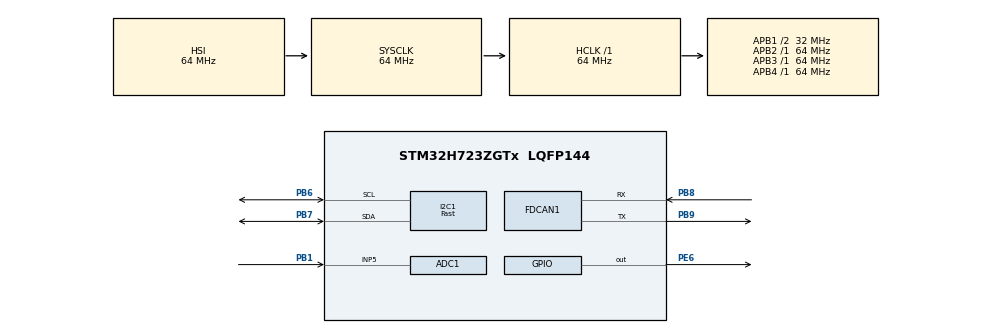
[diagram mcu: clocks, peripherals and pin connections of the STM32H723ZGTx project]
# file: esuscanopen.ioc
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ADC1.Channel-0\#ChannelRegularConversion=ADC_CHANNEL_5
ADC1.EnableAnalogWatchDog1=false
ADC1.NbrOfConversionFlag=1
ADC1.OffsetNumber-0\#ChannelRegularConversion=ADC_OFFSET_NONE
ADC1.OffsetSignedSaturation-0\#ChannelRegularConversion=DISABLE
ADC1.Rank-0\#ChannelRegularConversion=1
ADC1.Resolution=ADC_RESOLUTION_12B
ADC1.SamplingTime-0\#ChannelRegularConversion=ADC_SAMPLETIME_387CYCLES_5
ADC1.master=1
CORTEX_M7.default_mode_Activation=1
FDCAN1.AutoRetransmission=ENABLE
FDCAN1.CalculateBaudRateNominal=500000
FDCAN1.CalculateTimeBitNominal=2000
FDCAN1.CalculateTimeQuantumNominal=125.0
FDCAN1.NominalPrescaler=6
FDCAN1.NominalSyncJumpWidth=1
FDCAN1.NominalTimeSeg1=13
FDCAN1.NominalTimeSeg2=2
FDCAN1.RxFifo0ElmtsNbr=8
FDCAN1.StdFiltersNbr=1
FDCAN1.TxFifoQueueElmtsNbr=32
FREERTOS.Tasks01=defaultTask,24,2048,StartDefaultTask,Default,NULL,Dynamic,NULL,NULL;canopen,40,2048,canopen_task,Default,NULL,Dynamic,NULL,NULL
FREERTOS.configMINIMAL_STACK_SIZE=2048
FREERTOS.configTOTAL_HEAP_SIZE=65536
I2C1.I2C_Speed_Mode=I2C_Fast
I2C1.Timing=0x00300F38
Mcu.Family=STM32H7
Mcu.Name=STM32H723ZGTx
Mcu.Package=LQFP144
NVIC.ADC_IRQn=true\:5\:0\:false\:false\:true\:true\:true\:true\:true
NVIC.FDCAN1_IT0_IRQn=true\:5\:0\:false\:false\:true\:true\:true\:true\:true
NVIC.FDCAN1_IT1_IRQn=true\:5\:0\:false\:false\:true\:true\:true\:true\:true
NVIC.PriorityGroup=NVIC_PRIORITYGROUP_4
NVIC.TIM1_UP_IRQn=true\:15\:0\:false\:false\:true\:false\:false\:true\:true
NVIC.TIM6_DAC_IRQn=true\:5\:0\:false\:false\:true\:true\:true\:true\:true
NVIC.TimeBase=TIM1_UP_IRQn
NVIC.TimeBaseIP=TIM1
PB1.Signal=ADCx_INP5
PB6.Mode=I2C
PB6.Signal=I2C1_SCL
PB7.Mode=I2C
PB7.Signal=I2C1_SDA
PB8.Mode=FDCAN_Activate
PB8.Signal=FDCAN1_RX
PB9.Mode=FDCAN_Activate
PB9.Signal=FDCAN1_TX
PE6.Signal=GPIO_Output
ProjectManager.HeapSize=0x200
ProjectManager.StackSize=0x400
ProjectManager.TargetToolchain=CMake
RCC.ADCFreq_Value=38400000
RCC.APB1Freq_Value=32000000
RCC.APB2Freq_Value=64000000
RCC.APB3Freq_Value=64000000
RCC.APB4Freq_Value=64000000
RCC.CortexFreq_Value=64000000
RCC.D2PPRE1=RCC_APB1_DIV2
RCC.DIVM1=4
RCC.DIVM2=4
RCC.DIVN1=12
RCC.DIVN2=12
RCC.DIVP2=5
RCC.DIVQ1=4
RCC.HCLKFreq_Value=64000000
RCC.PLL2FRACN=0
RCC.PLLFRACN=0
RCC.SYSCLKFreq_VALUE=64000000
RCC.USBFreq_Value=48000000
SH.ADCx_INP5.0=ADC1_INP5,IN5-Single-Ended
TIM6.AutoReloadPreload=TIM_AUTORELOAD_PRELOAD_ENABLE
TIM6.Period=999
TIM6.Prescaler=63
VP_FREERTOS_VS_CMSIS_V2.Mode=CMSIS_V2
VP_MEMORYMAP_VS_MEMORYMAP.Mode=CurAppReg
VP_SYS_VS_tim1.Mode=TIM1
VP_TIM6_VS_ClockSourceINT.Mode=Enable_Timer
board=custom

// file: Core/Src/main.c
/* USER CODE BEGIN Header */
/**
  ******************************************************************************
  * @file           : main.c
  * @brief          : Main program body
  ******************************************************************************
  * @attention
  *
  * Copyright (c) 2026 STMicroelectronics.
  * All rights reserved.
  *
  * This software is licensed under terms that can be found in the LICENSE file
  * in the root directory of this software component.
  * If no LICENSE file comes with this software, it is provided AS-IS.
  *
  ******************************************************************************
  */
/* USER CODE END Header */
#include "main.h"
#include "cmsis_os.h"
#include "adc.h"
#include "fdcan.h"
#include "i2c.h"
#include "tim.h"
#include "gpio.h"

/* USER CODE BEGIN Includes */
#include "CO_app_STM32.h"
/* USER CODE END Includes */

/* USER CODE BEGIN PV */
CANopenNodeSTM32 canOpenNodeSTM32;
/* USER CODE END PV */

void SystemClock_Config(void);
static void MPU_Config(void);
void MX_FREERTOS_Init(void);
/* USER CODE BEGIN PFP */
void ICM42670_Init(void);
void ICM42670_ReadData(void);
/* USER CODE END PFP */

int main(void)
{

  /* USER CODE BEGIN 1 */
  HAL_GPIO_WritePin(GPIOE, GPIO_PIN_6, GPIO_PIN_RESET);
  /* USER CODE END 1 */

  /* MPU Configuration--------------------------------------------------------*/
  MPU_Config();

  /* MCU Configuration--------------------------------------------------------*/

  /* Reset of all peripherals, Initializes the Flash interface and the Systick. */
  HAL_Init();

  /* Configure the system clock */
  SystemClock_Config();

  /* Initialize all configured peripherals */
  MX_GPIO_Init();
  MX_FDCAN1_Init();
  MX_TIM6_Init();
  MX_ADC1_Init();
  MX_I2C1_Init();
  /* USER CODE BEGIN 2 */

  HAL_ADCEx_Calibration_Start(&hadc1, ADC_CALIB_OFFSET, ADC_SINGLE_ENDED);
  HAL_ADC_Start_IT(&hadc1);

  ICM42670_Init();
  /* USER CODE END 2 */

  /* Init scheduler */
  osKernelInitialize();  /* Call init function for freertos objects (in cmsis_os2.c) */
  MX_FREERTOS_Init();

  /* Start scheduler */
  osKernelStart();

  /* We should never get here as control is now taken by the scheduler */

  /* Infinite loop */
  while (1)
  {

  }
}

void SystemClock_Config(void)
{
  RCC_OscInitTypeDef RCC_OscInitStruct = {0};
  RCC_ClkInitTypeDef RCC_ClkInitStruct = {0};

  /** Supply configuration update enable
  */
  HAL_PWREx_ConfigSupply(PWR_LDO_SUPPLY);

  /** Configure the main internal regulator output voltage
  */
  __HAL_PWR_VOLTAGESCALING_CONFIG(PWR_REGULATOR_VOLTAGE_SCALE3);

  while(!__HAL_PWR_GET_FLAG(PWR_FLAG_VOSRDY)) {}

  /** Initializes the RCC Oscillators according to the specified parameters
  * in the RCC_OscInitTypeDef structure.
  */
  RCC_OscInitStruct.OscillatorType = RCC_OSCILLATORTYPE_HSI;
  RCC_OscInitStruct.HSIState = RCC_HSI_DIV1;
  RCC_OscInitStruct.HSICalibrationValue = 64;
  RCC_OscInitStruct.PLL.PLLState = RCC_PLL_ON;
  RCC_OscInitStruct.PLL.PLLSource = RCC_PLLSOURCE_HSI;
  RCC_OscInitStruct.PLL.PLLM = 4;
  RCC_OscInitStruct.PLL.PLLN = 12;
  RCC_OscInitStruct.PLL.PLLP = 2;
  RCC_OscInitStruct.PLL.PLLQ = 4;
  RCC_OscInitStruct.PLL.PLLR = 2;
  RCC_OscInitStruct.PLL.PLLRGE = RCC_PLL1VCIRANGE_3;
  RCC_OscInitStruct.PLL.PLLVCOSEL = RCC_PLL1VCOWIDE;
  RCC_OscInitStruct.PLL.PLLFRACN = 0;
  if (HAL_RCC_OscConfig(&RCC_OscInitStruct) != HAL_OK)
  {
    Error_Handler();
  }

  /** Initializes the CPU, AHB and APB buses clocks
  */
  RCC_ClkInitStruct.ClockType = RCC_CLOCKTYPE_HCLK|RCC_CLOCKTYPE_SYSCLK
                              |RCC_CLOCKTYPE_PCLK1|RCC_CLOCKTYPE_PCLK2
                              |RCC_CLOCKTYPE_D3PCLK1|RCC_CLOCKTYPE_D1PCLK1;
  RCC_ClkInitStruct.SYSCLKSource = RCC_SYSCLKSOURCE_HSI;
  RCC_ClkInitStruct.SYSCLKDivider = RCC_SYSCLK_DIV1;
  RCC_ClkInitStruct.AHBCLKDivider = RCC_HCLK_DIV1;
  RCC_ClkInitStruct.APB3CLKDivider = RCC_APB3_DIV1;
  RCC_ClkInitStruct.APB1CLKDivider = RCC_APB1_DIV2;
  RCC_ClkInitStruct.APB2CLKDivider = RCC_APB2_DIV1;
  RCC_ClkInitStruct.APB4CLKDivider = RCC_APB4_DIV1;

  if (HAL_RCC_ClockConfig(&RCC_ClkInitStruct, FLASH_LATENCY_1) != HAL_OK)
  {
    Error_Handler();
  }
}

/* USER CODE BEGIN 4 */

#define ICM42670_ADDR           (0x68 << 1)
#define ICM42670_REG_WHO_AM_I   0x75
#define ICM42670_REG_PWR_MGMT0  0x1F
#define ICM42670_REG_GYRO_CONFIG0  0x20
#define ICM42670_REG_ACCEL_CONFIG0 0x21

#define ICM42670_REG_TEMP_DATA1    0x09
#define ICM42670_REG_ACCEL_DATA_X1 0x0B
#define ICM42670_REG_GYRO_DATA_X1  0x11

volatile int16_t imu_accel_x = 0, imu_accel_y = 0, imu_accel_z = 0;
volatile int16_t imu_gyro_x  = 0, imu_gyro_y  = 0, imu_gyro_z  = 0;
volatile uint32_t linpot_raw_value = 0;

static uint8_t ICM42670_WriteReg(uint8_t reg, uint8_t val)
{
  uint8_t buf[2] = { reg, val };
  return HAL_I2C_Master_Transmit(&hi2c1, ICM42670_ADDR, buf, 2, 10);
}

static uint8_t ICM42670_ReadReg(uint8_t reg)
{
  uint8_t val = 0;
  HAL_I2C_Master_Transmit(&hi2c1, ICM42670_ADDR, &reg, 1, 100);
  HAL_I2C_Master_Receive(&hi2c1, ICM42670_ADDR, &val, 1, 100);
  return val;
}

void HAL_ADC_ConvCpltCallback(ADC_HandleTypeDef *hadc)
{
  if (hadc->Instance == ADC1)
  {
    linpot_raw_value = HAL_ADC_GetValue(hadc);
    HAL_ADC_Start_IT(hadc);  // re-arm for next conversion
  }
}

void ICM42670_Init(void)
{
  uint8_t who = ICM42670_ReadReg(ICM42670_REG_WHO_AM_I);
  if (who != 0x67) { return; }

  ICM42670_WriteReg(ICM42670_REG_PWR_MGMT0, 0x0F);
  HAL_Delay(10);

  ICM42670_WriteReg(ICM42670_REG_GYRO_CONFIG0, 0x04);
  ICM42670_WriteReg(ICM42670_REG_ACCEL_CONFIG0, 0x24);
}

void ICM42670_ReadData(void)
{
  uint8_t buf[12] = {0};
  uint8_t reg = ICM42670_REG_ACCEL_DATA_X1;

  HAL_StatusTypeDef status;

  status = HAL_I2C_Master_Transmit(&hi2c1, ICM42670_ADDR, &reg, 1, 10);
  if (status != HAL_OK)
  {
    HAL_I2C_DeInit(&hi2c1);
    HAL_Delay(5);
    HAL_I2C_Init(&hi2c1);
    return;  // skip this cycle, don't update imu_accel/gyro globals
  }

  status = HAL_I2C_Master_Receive(&hi2c1, ICM42670_ADDR, buf, 12, 10);
  if (status != HAL_OK)
  {
    HAL_I2C_DeInit(&hi2c1);
    HAL_Delay(5);
    HAL_I2C_Init(&hi2c1);
    return;
  }

  // Only update globals if read succeeded
  imu_accel_x = (int16_t)(buf[0]  << 8 | buf[1]);
  imu_accel_y = (int16_t)(buf[2]  << 8 | buf[3]);
  imu_accel_z = (int16_t)(buf[4]  << 8 | buf[5]);
  imu_gyro_x  = (int16_t)(buf[6]  << 8 | buf[7]);
  imu_gyro_y  = (int16_t)(buf[8]  << 8 | buf[9]);
  imu_gyro_z  = (int16_t)(buf[10] << 8 | buf[11]);
}

/* USER CODE END 4 */

 /* MPU Configuration */

void MPU_Config(void)
{
  MPU_Region_InitTypeDef MPU_InitStruct = {0};

  /* Disables the MPU */
  HAL_MPU_Disable();

  /** Initializes and configures the Region and the memory to be protected
  */
  MPU_InitStruct.Enable = MPU_REGION_ENABLE;
  MPU_InitStruct.Number = MPU_REGION_NUMBER0;
  MPU_InitStruct.BaseAddress = 0x0;
  MPU_InitStruct.Size = MPU_REGION_SIZE_4GB;
  MPU_InitStruct.SubRegionDisable = 0x87;
  MPU_InitStruct.TypeExtField = MPU_TEX_LEVEL0;
  MPU_InitStruct.AccessPermission = MPU_REGION_NO_ACCESS;
  MPU_InitStruct.DisableExec = MPU_INSTRUCTION_ACCESS_DISABLE;
  MPU_InitStruct.IsShareable = MPU_ACCESS_SHAREABLE;
  MPU_InitStruct.IsCacheable = MPU_ACCESS_NOT_CACHEABLE;
  MPU_InitStruct.IsBufferable = MPU_ACCESS_NOT_BUFFERABLE;

  HAL_MPU_ConfigRegion(&MPU_InitStruct);
  /* Enables the MPU */
  HAL_MPU_Enable(MPU_PRIVILEGED_DEFAULT);

}

void HAL_TIM_PeriodElapsedCallback(TIM_HandleTypeDef *htim)
{
  if (htim->Instance == TIM1)
  {
    HAL_IncTick();
  }
  /* USER CODE BEGIN Callback 1 */
  if (htim->Instance == TIM6) {
    canopen_app_interrupt();
  }

  /* USER CODE END Callback 1 */
}

void Error_Handler(void)
{
  __disable_irq();
  while (1)
  {
  }
}

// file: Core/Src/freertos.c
/* USER CODE BEGIN Header */
/**
  ******************************************************************************
  * File Name          : freertos.c
  * Description        : Code for freertos applications
  ******************************************************************************
  * @attention
  *
  * Copyright (c) 2026 STMicroelectronics.
  * All rights reserved.
  *
  * This software is licensed under terms that can be found in the LICENSE file
  * in the root directory of this software component.
  * If no LICENSE file comes with this software, it is provided AS-IS.
  *
  ******************************************************************************
  */
/* USER CODE END Header */

#include "FreeRTOS.h"
#include "task.h"
#include "main.h"
#include "cmsis_os.h"

/* USER CODE BEGIN Includes */
#include "CO_app_STM32.h"
#include "fdcan.h"
#include "tim.h"
#include "OD.h"
#include <string.h>
/* USER CODE END Includes */

/* USER CODE BEGIN PTD */
extern CANopenNodeSTM32 canOpenNodeSTM32;
/* USER CODE END PTD */

/* USER CODE BEGIN Variables */

extern volatile uint32_t linpot_raw_value;
extern volatile int16_t  imu_accel_x, imu_accel_y, imu_accel_z;
extern volatile int16_t  imu_gyro_x,  imu_gyro_y,  imu_gyro_z;

/* USER CODE END Variables */
/* Definitions for defaultTask */
osThreadId_t defaultTaskHandle;
const osThreadAttr_t defaultTask_attributes = {
  .name = "defaultTask",
  .stack_size = 2048 * 4,
  .priority = (osPriority_t) osPriorityNormal,
};
/* Definitions for canopen */
osThreadId_t canopenHandle;
const osThreadAttr_t canopen_attributes = {
  .name = "canopen",
  .stack_size = 2048 * 4,
  .priority = (osPriority_t) osPriorityHigh,
};

/* USER CODE BEGIN FunctionPrototypes */

void ICM42670_Init(void);
void ICM42670_ReadData(void);

/* USER CODE END FunctionPrototypes */

void StartDefaultTask(void *argument);
void canopen_task(void *argument);

void MX_FREERTOS_Init(void); /* (MISRA C 2004 rule 8.1) */

void MX_FREERTOS_Init(void) {

  /* Create the thread(s) */
  /* creation of defaultTask */
  defaultTaskHandle = osThreadNew(StartDefaultTask, NULL, &defaultTask_attributes);

  /* creation of canopen */
  canopenHandle = osThreadNew(canopen_task, NULL, &canopen_attributes);

}

void StartDefaultTask(void *argument)
{
  /* USER CODE BEGIN StartDefaultTask */

  // Constants for sensor scaling
  const float GRAVITY_MSS = 9.80665f;
  const float DEG_TO_RAD  = 0.0174533f;
  const float ACCEL_SCALE = (1.0f / 4096.0f) * GRAVITY_MSS;
  const float GYRO_SCALE  = (1.0f / 16.4f)   * DEG_TO_RAD;

  // Wait briefly for CANopen to initialize before hammering the I2C/ADC
  osDelay(500);

  /* Infinite loop */
  for(;;)
  {
    ICM42670_ReadData();

    // 1. Calculate Linpot and cast to integer (Normal assignment is fine here)
    float linpot_calc = 36.5f + ((float)linpot_raw_value / 4095.0f) * 25.0f;
    OD_RAM.x2000_linearPotentiometer = (uint32_t)linpot_calc;

    // 2. Calculate IMU values as standard floats
    float accel_x = (float)imu_accel_x * ACCEL_SCALE;
    float accel_y = (float)imu_accel_y * ACCEL_SCALE;
    float accel_z = (float)imu_accel_z * ACCEL_SCALE;
    float gyro_x  = (float)imu_gyro_x  * GYRO_SCALE;
    float gyro_y  = (float)imu_gyro_y  * GYRO_SCALE;
    float gyro_z  = (float)imu_gyro_z  * GYRO_SCALE;

    // 3. Type Punning: Force the exact float bits into the uint32_t OD array
    memcpy((void*)&OD_RAM.x2001_imu[0], &accel_x, sizeof(float));
    memcpy((void*)&OD_RAM.x2001_imu[1], &accel_y, sizeof(float));
    memcpy((void*)&OD_RAM.x2001_imu[2], &accel_z, sizeof(float));
    memcpy((void*)&OD_RAM.x2001_imu[3], &gyro_x,  sizeof(float));
    memcpy((void*)&OD_RAM.x2001_imu[4], &gyro_y,  sizeof(float));
    memcpy((void*)&OD_RAM.x2001_imu[5], &gyro_z,  sizeof(float));

    osDelay(50);
  }
  /* USER CODE END StartDefaultTask */
}

void canopen_task(void *argument)
{
  /* USER CODE BEGIN canopen_task */
  canOpenNodeSTM32.CANHandle = &hfdcan1;
  canOpenNodeSTM32.HWInitFunction = MX_FDCAN1_Init;
  canOpenNodeSTM32.timerHandle = &htim6;   // your 1ms timer
  canOpenNodeSTM32.desiredNodeID = 1;
  canOpenNodeSTM32.baudrate = 500;
  canopen_app_init(&canOpenNodeSTM32);

  /* Infinite loop */
  for(;;)
  {

    canopen_app_process();
    osDelay(1);
  }
  /* USER CODE END canopen_task */
}
